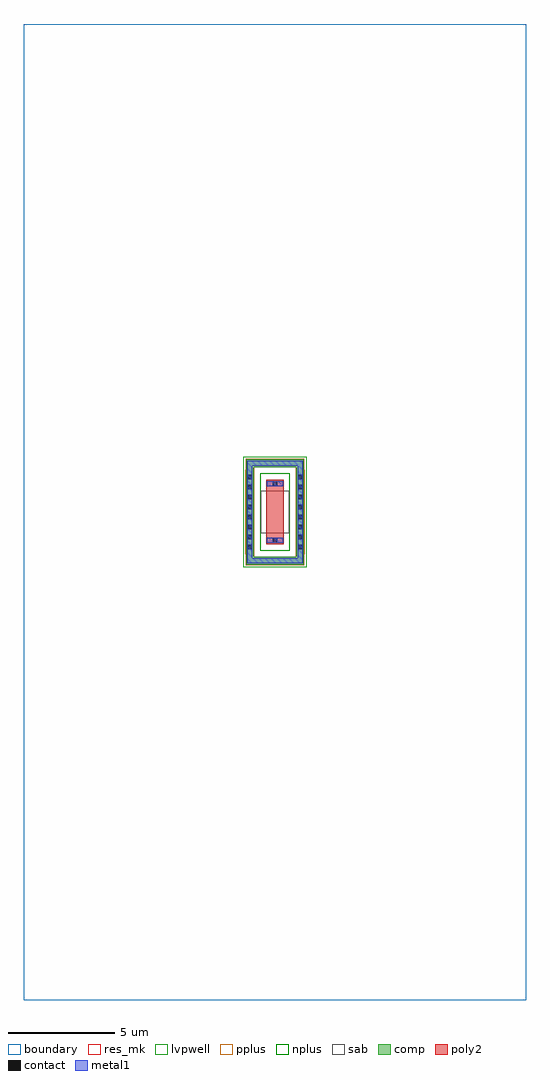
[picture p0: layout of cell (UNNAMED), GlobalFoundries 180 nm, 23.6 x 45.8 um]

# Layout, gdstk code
import gdstk
lib = gdstk.Library(unit=1e-6, precision=1e-09)
def R(c, l, rs):  # rectangles x0, y0, x1, y1
    for r in rs: c.add(gdstk.rectangle(r[:2], r[2:], *l))
def A(c, l, x, y, w, h, nx, ny, dx, dy):  # array of equal rectangles
    R(c, l, [(x+i*dx, y+j*dy, x+i*dx+w, y+j*dy+h) for i in range(nx) for j in range(ny)])
boundary = (0, 0)
comp = (22, 0)
poly2 = (30, 0)
pplus = (31, 0)
nplus = (32, 0)
contact = (33, 0)
metal1 = (34, 0)
sab = (49, 0)
res_mk = (110, 5)
lvpwell = (204, 0)

c__unnamed_ = lib.new_cell('(UNNAMED)')
R(c__unnamed_, boundary, [(-11.8,-22.9,11.8,22.9)])
R(c__unnamed_, comp, [(-1.36,-2.47,1.36,-2.11), (-1.36,-2.11,-1,2.11), (1,-2.11,1.36,2.11), (-1.36,2.11,1.36,2.47)])
R(c__unnamed_, poly2, [(-0.4,-1.51,0.4,1.51)])
R(c__unnamed_, pplus, [(-1.38,-2.49,1.38,-2.09), (-1.38,-2.09,-0.97,-1.985), (0.97,-2.09,1.38,-1.985), (-1.39,-1.985,-0.97,1.985), (0.97,-1.985,1.39,1.985), (-1.38,1.985,-0.97,2.09), (0.97,1.985,1.38,2.09), (-1.38,2.09,1.38,2.49)])
R(c__unnamed_, nplus, [(-0.7,-1.81,0.7,1.81)])
A(c__unnamed_, contact, -1.29, -1.755, 0.22, 0.22, 1, 8, 0, 0.47)
A(c__unnamed_, contact, 1.07, -1.755, 0.22, 0.22, 1, 8, 0, 0.47)
R(c__unnamed_, contact, [(-0.11,-1.44,0.11,-1.22), (-0.11,1.22,0.11,1.44)])
R(c__unnamed_, metal1, [(-1.295,-2.405,1.295,-2.175), (-1.295,-2.175,-1.065,2.175), (1.065,-2.175,1.295,2.175), (-0.39,-1.445,0.39,-1.215), (-0.39,1.215,0.39,1.445), (-1.295,2.175,1.295,2.405)])
R(c__unnamed_, sab, [(-0.68,-1,0.68,1)])
R(c__unnamed_, res_mk, [(-0.4,-1,0.4,1)])
R(c__unnamed_, lvpwell, [(-1.48,-2.59,1.48,2.59)])

lib.write_gds('_UNNAMED_.gds')
